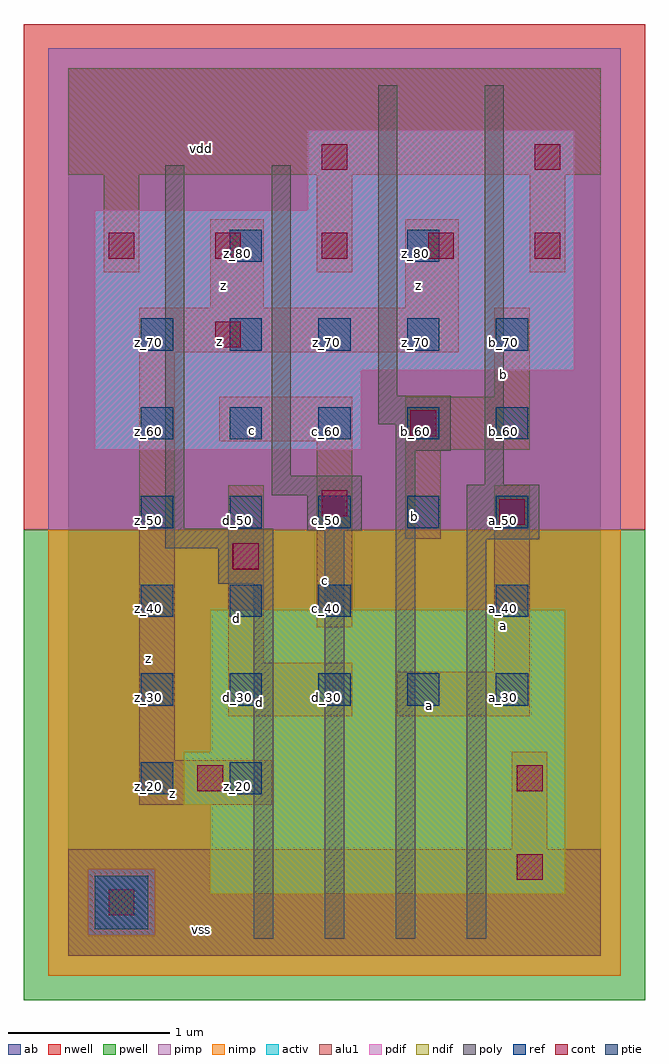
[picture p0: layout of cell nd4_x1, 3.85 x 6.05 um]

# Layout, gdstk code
import gdstk
lib = gdstk.Library(unit=1e-6, precision=2.5e-09)
def R(c, l, rs):  # rectangles x0, y0, x1, y1
    for r in rs: c.add(gdstk.rectangle(r[:2], r[2:], *l))
def A(c, l, x, y, w, h, nx, ny, dx, dy):  # array of equal rectangles
    R(c, l, [(x+i*dx, y+j*dy, x+i*dx+w, y+j*dy+h) for i in range(nx) for j in range(ny)])
ndif = (3, 0)
pdif = (4, 0)
ptie = (6, 0)
ref = (24, 0)
cont = (25, 0)
pwell = (41, 0)
nwell = (42, 0)
activ = (43, 0)
pimp = (44, 0)
nimp = (45, 0)
poly = (46, 0)
alu1 = (49, 0)
ab = (63, 0)

nd4_x1 = lib.new_cell('nd4_x1')
R(nd4_x1, ndif, [(0.88,0.385,3.08,0.935), (0.715,0.935,3.08,1.265), (0.88,1.265,3.08,2.145)])
R(nd4_x1, pdif, [(0.165,3.135,1.815,3.63), (0.165,3.63,3.135,4.62), (1.485,4.62,3.135,5.115)])
R(nd4_x1, ptie, [(0.165,0.165,0.495,0.495)])
A(nd4_x1, ref, 0.45, 1.55, 0.2, 0.2, 5, 2, 0.55, 1.1)
A(nd4_x1, ref, 0.45, 2.1, 0.2, 0.2, 3, 1, 0.55, 0)
A(nd4_x1, ref, 0.45, 3.2, 0.2, 0.2, 5, 2, 0.55, 0.55)
R(nd4_x1, ref, [(0.45,1,0.65,1.2), (1,1,1.2,1.2), (2.65,2.1,2.85,2.3), (1,4.3,1.2,4.5), (2.1,4.3,2.3,4.5)])
A(nd4_x1, cont, 0.25, 4.32, 0.16, 0.16, 5, 1, 0.66, 0)
R(nd4_x1, cont, [(0.25,0.25,0.41,0.41), (2.78,0.47,2.94,0.63), (0.8,1.02,0.96,1.18), (2.78,1.02,2.94,1.18), (1.02,2.395,1.18,2.555), (2.67,2.67,2.83,2.83), (1.57,2.725,1.73,2.885), (2.12,3.22,2.28,3.38), (0.91,3.77,1.07,3.93), (1.57,4.87,1.73,5.03), (2.89,4.87,3.05,5.03)])
R(nd4_x1, pwell, [(-0.275,-0.275,3.575,2.64)])
R(nd4_x1, nwell, [(-0.275,2.64,3.575,5.775)])
R(nd4_x1, activ, [(0.165,0.165,0.495,0.495), (0.88,0.385,3.08,0.935), (0.715,0.935,3.08,1.265), (0.88,1.265,3.08,2.145), (0.165,3.135,1.815,3.63), (0.165,3.63,3.135,4.62), (1.485,4.62,3.135,5.115)])
R(nd4_x1, pimp, [(0.125,0.125,0.535,0.535), (-0.125,2.64,3.425,5.625)])
R(nd4_x1, nimp, [(-0.125,-0.125,3.425,0.125), (-0.125,0.125,0.125,0.535), (0.535,0.125,3.425,0.535), (-0.125,0.535,3.425,2.64)])
R(nd4_x1, poly, [(1.15,0.105,1.27,2.305), (1.59,0.105,1.71,2.635), (2.03,0.105,2.15,3.13), (2.47,0.105,2.59,2.58), (0.93,2.305,1.27,2.525), (0.6,2.525,1.27,2.645), (2.47,2.58,2.92,2.92), (1.48,2.635,1.82,2.855), (0.6,2.645,0.72,4.9), (1.26,2.855,1.82,2.975), (2.58,2.92,2.7,5.395), (1.26,2.975,1.38,4.9), (2.03,3.13,2.37,3.295), (1.92,3.295,2.37,3.47), (1.92,3.47,2.04,5.395)])
A(nd4_x1, alu1, 0.22, 4.235, 0.22, 0.605, 3, 1, 1.32, 0)
R(nd4_x1, alu1, [(0,0,3.3,0.66), (2.75,0.66,2.97,1.265), (0.44,0.935,1.265,1.21), (0.44,1.21,0.66,3.74), (0.99,1.485,1.76,1.815), (2.035,1.485,2.86,1.76), (2.64,1.76,2.86,2.915), (0.99,1.815,1.21,2.915), (1.54,2.035,1.76,3.19), (2.09,2.585,2.31,3.135), (2.09,3.135,2.86,3.465), (0.935,3.19,1.76,3.465), (2.64,3.465,2.86,4.015), (0.44,3.74,2.42,4.015), (0.88,4.015,1.21,4.565), (2.09,4.015,2.42,4.565), (0,4.84,3.3,5.5)])
R(nd4_x1, ab, [(0,0,3.3,5.5)])
nd4_x1.add(gdstk.Label('vss', (0.825,0.165), layer=49, texttype=0))
nd4_x1.add(gdstk.Label('z', (0.645,1.0025), layer=49, texttype=0))
nd4_x1.add(gdstk.Label('a', (2.24,1.5525), layer=49, texttype=0))
nd4_x1.add(gdstk.Label('a', (2.695,2.0475), layer=49, texttype=0))
nd4_x1.add(gdstk.Label('d', (1.1825,1.5675), layer=49, texttype=0))
nd4_x1.add(gdstk.Label('b', (2.145,2.7225), layer=49, texttype=0))
nd4_x1.add(gdstk.Label('c', (1.595,2.3225), layer=49, texttype=0))
nd4_x1.add(gdstk.Label('d', (1.045,2.09), layer=49, texttype=0))
nd4_x1.add(gdstk.Label('c', (1.14,3.2575), layer=49, texttype=0))
nd4_x1.add(gdstk.Label('b', (2.695,3.6025), layer=49, texttype=0))
nd4_x1.add(gdstk.Label('z', (0.495,1.8425), layer=49, texttype=0))
nd4_x1.add(gdstk.Label('z', (0.935,3.8075), layer=49, texttype=0))
nd4_x1.add(gdstk.Label('z', (2.1725,4.1525), layer=49, texttype=0))
nd4_x1.add(gdstk.Label('z', (0.9625,4.1525), layer=49, texttype=0))
nd4_x1.add(gdstk.Label('vdd', (0.825,5.005), layer=49, texttype=0))
nd4_x1.add(gdstk.Label('b_60', (2.7,3.25), layer=24, texttype=0))
nd4_x1.add(gdstk.Label('c_40', (1.6,2.15), layer=24, texttype=0))
nd4_x1.add(gdstk.Label('d_30', (1.05,1.6), layer=24, texttype=0))
nd4_x1.add(gdstk.Label('z_20', (1.05,1.05), layer=24, texttype=0))
nd4_x1.add(gdstk.Label('z_20', (0.5,1.05), layer=24, texttype=0))
nd4_x1.add(gdstk.Label('c_50', (1.6,2.7), layer=24, texttype=0))
nd4_x1.add(gdstk.Label('d_40', (1.05,2.15), layer=24, texttype=0))
nd4_x1.add(gdstk.Label('b_50', (2.15,2.7), layer=24, texttype=0))
nd4_x1.add(gdstk.Label('a_30', (2.15,1.6), layer=24, texttype=0))
nd4_x1.add(gdstk.Label('a_50', (2.7,2.7), layer=24, texttype=0))
nd4_x1.add(gdstk.Label('z_30', (0.5,1.6), layer=24, texttype=0))
nd4_x1.add(gdstk.Label('z_70', (0.5,3.8), layer=24, texttype=0))
nd4_x1.add(gdstk.Label('d_30', (1.6,1.6), layer=24, texttype=0))
nd4_x1.add(gdstk.Label('a_30', (2.7,1.6), layer=24, texttype=0))
nd4_x1.add(gdstk.Label('a_40', (2.7,2.15), layer=24, texttype=0))
nd4_x1.add(gdstk.Label('b_70', (2.7,3.8), layer=24, texttype=0))
nd4_x1.add(gdstk.Label('z_70', (1.6,3.8), layer=24, texttype=0))
nd4_x1.add(gdstk.Label('z_40', (0.5,2.15), layer=24, texttype=0))
nd4_x1.add(gdstk.Label('b_60', (2.15,3.25), layer=24, texttype=0))
nd4_x1.add(gdstk.Label('c_60', (1.05,3.25), layer=24, texttype=0))
nd4_x1.add(gdstk.Label('c_60', (1.6,3.25), layer=24, texttype=0))
nd4_x1.add(gdstk.Label('d_50', (1.05,2.7), layer=24, texttype=0))
nd4_x1.add(gdstk.Label('z_60', (0.5,3.25), layer=24, texttype=0))
nd4_x1.add(gdstk.Label('z_80', (2.15,4.35), layer=24, texttype=0))
nd4_x1.add(gdstk.Label('z_70', (2.15,3.8), layer=24, texttype=0))
nd4_x1.add(gdstk.Label('z_50', (0.5,2.7), layer=24, texttype=0))
nd4_x1.add(gdstk.Label('z_70', (1.05,3.8), layer=24, texttype=0))
nd4_x1.add(gdstk.Label('z_80', (1.05,4.35), layer=24, texttype=0))

lib.write_gds('nd4_x1.gds')
